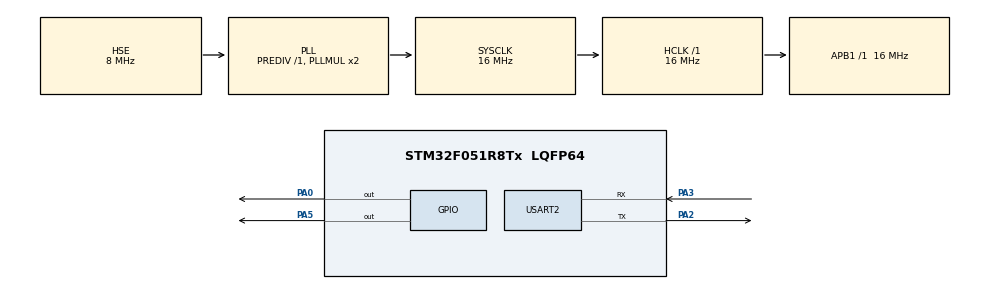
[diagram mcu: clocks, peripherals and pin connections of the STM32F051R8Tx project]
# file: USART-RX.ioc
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Dma.Request0=USART2_RX
Dma.USART2_RX.0.Direction=DMA_PERIPH_TO_MEMORY
Dma.USART2_RX.0.Instance=DMA1_Channel5
Dma.USART2_RX.0.MemDataAlignment=DMA_MDATAALIGN_BYTE
Dma.USART2_RX.0.MemInc=DMA_MINC_ENABLE
Dma.USART2_RX.0.Mode=DMA_NORMAL
Dma.USART2_RX.0.PeriphDataAlignment=DMA_PDATAALIGN_BYTE
Dma.USART2_RX.0.PeriphInc=DMA_PINC_DISABLE
Dma.USART2_RX.0.Priority=DMA_PRIORITY_LOW
Mcu.Family=STM32F0
Mcu.Name=STM32F051R8Tx
Mcu.Package=LQFP64
NVIC.DMA1_Channel4_5_IRQn=true\:0\:0\:false\:false\:true\:false\:true\:true
NVIC.USART2_IRQn=true\:0\:0\:false\:false\:true\:true\:true\:true
PA0.Signal=GPIO_Output
PA2.Mode=Asynchronous
PA2.Signal=USART2_TX
PA3.Mode=Asynchronous
PA3.Signal=USART2_RX
PA5.Signal=GPIO_Output
PF0-OSC_IN.Mode=HSE-External-Oscillator
PF0-OSC_IN.Signal=RCC_OSC_IN
PF1-OSC_OUT.Mode=HSE-External-Oscillator
PF1-OSC_OUT.Signal=RCC_OSC_OUT
ProjectManager.HeapSize=0x200
ProjectManager.StackSize=0x400
ProjectManager.TargetToolchain=MDK-ARM V5.32
RCC.AHBFreq_Value=16000000
RCC.APB1Freq_Value=16000000
RCC.APB1TimFreq_Value=16000000
RCC.HCLKFreq_Value=16000000
RCC.PLLSourceVirtual=RCC_PLLSOURCE_HSE
RCC.SYSCLKFreq_VALUE=16000000
RCC.SYSCLKSource=RCC_SYSCLKSOURCE_PLLCLK
USART2.VirtualMode-Asynchronous=VM_ASYNC
board=custom

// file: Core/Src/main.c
/* USER CODE BEGIN Header */
/**
  ******************************************************************************
  * @file           : main.c
  * @brief          : Main program body
  ******************************************************************************
  * @attention
  *
  * Copyright (c) 2023 STMicroelectronics.
  * All rights reserved.
  *
  * This software is licensed under terms that can be found in the LICENSE file
  * in the root directory of this software component.
  * If no LICENSE file comes with this software, it is provided AS-IS.
  *
  ******************************************************************************
  */
/* USER CODE END Header */
#include "main.h"

/* USER CODE BEGIN Includes */

#include <stdio.h>
#include <stdint.h>
#include <stdlib.h>
#include <string.h>

/* USER CODE END Includes */

/* USER CODE BEGIN PTD */
void build_decoding_table();
void base64_cleanup();

char *base64_encode(const unsigned char *data,
                    size_t input_length,
                    size_t *output_length);
unsigned char *base64_decode(const char *data,
                             size_t input_length,
                             size_t *output_length);
/* USER CODE END PTD */

UART_HandleTypeDef huart2;
DMA_HandleTypeDef hdma_usart2_rx;

void SystemClock_Config(void);
static void MX_GPIO_Init(void);
static void MX_DMA_Init(void);
static void MX_USART2_UART_Init(void);

/* USER CODE BEGIN 0 */
static char encoding_table[] = {'A', 'B', 'C', 'D', 'E', 'F', 'G', 'H',
                                'I', 'J', 'K', 'L', 'M', 'N', 'O', 'P',
                                'Q', 'R', 'S', 'T', 'U', 'V', 'W', 'X',
                                'Y', 'Z', 'a', 'b', 'c', 'd', 'e', 'f',
                                'g', 'h', 'i', 'j', 'k', 'l', 'm', 'n',
                                'o', 'p', 'q', 'r', 's', 't', 'u', 'v',
                                'w', 'x', 'y', 'z', '0', '1', '2', '3',
                                '4', '5', '6', '7', '8', '9', '+', '/'};
static char *decoding_table = NULL;
static int mod_table[] = {0, 2, 1};

uint8_t Rx_data[10];  //  creating a buffer of 10 bytes

/* USER CODE END 0 */

int main(void)
{

  /* MCU Configuration--------------------------------------------------------*/

  /* Reset of all peripherals, Initializes the Flash interface and the Systick. */
  HAL_Init();

  /* USER CODE BEGIN Init */
	  __USART2_CLK_ENABLE();
    __GPIOA_CLK_ENABLE();

  /* USER CODE END Init */

  /* Configure the system clock */
  SystemClock_Config();

  /* Initialize all configured peripherals */
  MX_GPIO_Init();
  MX_DMA_Init();
  MX_USART2_UART_Init();

  /* Infinite loop */
  while (1)
  {

    /* USER CODE BEGIN 3 */
		HAL_GPIO_TogglePin (GPIOA, GPIO_PIN_5);
		HAL_Delay (250);
  }
  /* USER CODE END 3 */
}

void SystemClock_Config(void)
{
  RCC_OscInitTypeDef RCC_OscInitStruct = {0};
  RCC_ClkInitTypeDef RCC_ClkInitStruct = {0};

  /** Initializes the RCC Oscillators according to the specified parameters
  * in the RCC_OscInitTypeDef structure.
  */
  RCC_OscInitStruct.OscillatorType = RCC_OSCILLATORTYPE_HSE;
  RCC_OscInitStruct.HSEState = RCC_HSE_ON;
  RCC_OscInitStruct.PLL.PLLState = RCC_PLL_ON;
  RCC_OscInitStruct.PLL.PLLSource = RCC_PLLSOURCE_HSE;
  RCC_OscInitStruct.PLL.PLLMUL = RCC_PLL_MUL2;
  RCC_OscInitStruct.PLL.PREDIV = RCC_PREDIV_DIV1;
  if (HAL_RCC_OscConfig(&RCC_OscInitStruct) != HAL_OK)
  {
    Error_Handler();
  }

  /** Initializes the CPU, AHB and APB buses clocks
  */
  RCC_ClkInitStruct.ClockType = RCC_CLOCKTYPE_HCLK|RCC_CLOCKTYPE_SYSCLK
                              |RCC_CLOCKTYPE_PCLK1;
  RCC_ClkInitStruct.SYSCLKSource = RCC_SYSCLKSOURCE_PLLCLK;
  RCC_ClkInitStruct.AHBCLKDivider = RCC_SYSCLK_DIV1;
  RCC_ClkInitStruct.APB1CLKDivider = RCC_HCLK_DIV1;

  if (HAL_RCC_ClockConfig(&RCC_ClkInitStruct, FLASH_LATENCY_0) != HAL_OK)
  {
    Error_Handler();
  }
}

static void MX_USART2_UART_Init(void)
{

  huart2.Instance = USART2;
  huart2.Init.BaudRate = 38400;
  huart2.Init.WordLength = UART_WORDLENGTH_8B;
  huart2.Init.StopBits = UART_STOPBITS_1;
  huart2.Init.Parity = UART_PARITY_NONE;
  huart2.Init.Mode = UART_MODE_TX_RX;
  huart2.Init.HwFlowCtl = UART_HWCONTROL_NONE;
  huart2.Init.OverSampling = UART_OVERSAMPLING_16;
  huart2.Init.OneBitSampling = UART_ONE_BIT_SAMPLE_DISABLE;
  huart2.AdvancedInit.AdvFeatureInit = UART_ADVFEATURE_NO_INIT;
  if (HAL_UART_Init(&huart2) != HAL_OK)
  {
    Error_Handler();
  }

}

static void MX_DMA_Init(void)
{

  /* DMA controller clock enable */
  __HAL_RCC_DMA1_CLK_ENABLE();

  /* DMA interrupt init */
  /* DMA1_Channel4_5_IRQn interrupt configuration */
  HAL_NVIC_SetPriority(DMA1_Channel4_5_IRQn, 0, 0);
  HAL_NVIC_EnableIRQ(DMA1_Channel4_5_IRQn);

}

static void MX_GPIO_Init(void)
{
  GPIO_InitTypeDef GPIO_InitStruct = {0};

  /* GPIO Ports Clock Enable */
  __HAL_RCC_GPIOF_CLK_ENABLE();
  __HAL_RCC_GPIOA_CLK_ENABLE();

  /*Configure GPIO pin Output Level */
  HAL_GPIO_WritePin(GPIOA, GPIO_PIN_0|GPIO_PIN_5, GPIO_PIN_RESET);

  /*Configure GPIO pins : PA0 PA5 */
  GPIO_InitStruct.Pin = GPIO_PIN_0|GPIO_PIN_5;
  GPIO_InitStruct.Mode = GPIO_MODE_OUTPUT_PP;
  GPIO_InitStruct.Pull = GPIO_NOPULL;
  GPIO_InitStruct.Speed = GPIO_SPEED_FREQ_LOW;
  HAL_GPIO_Init(GPIOA, &GPIO_InitStruct);

}

/* USER CODE BEGIN 4 */

void build_decoding_table() {

    decoding_table = malloc(256);

    for (int i = 0; i < 64; i++)
        decoding_table[(unsigned char) encoding_table[i]] = i;
}

void base64_cleanup() {
    free(decoding_table);
}

char *base64_encode(const unsigned char *data,
                    size_t input_length,
                    size_t *output_length) {

    *output_length = 4 * ((input_length + 2) / 3);

    char *encoded_data = malloc(*output_length);
    if (encoded_data == NULL) return NULL;

    for (int i = 0, j = 0; i < input_length;) {

        uint32_t octet_a = i < input_length ? (unsigned char)data[i++] : 0;
        uint32_t octet_b = i < input_length ? (unsigned char)data[i++] : 0;
        uint32_t octet_c = i < input_length ? (unsigned char)data[i++] : 0;

        uint32_t triple = (octet_a << 0x10) + (octet_b << 0x08) + octet_c;

        encoded_data[j++] = encoding_table[(triple >> 3 * 6) & 0x3F];
        encoded_data[j++] = encoding_table[(triple >> 2 * 6) & 0x3F];
        encoded_data[j++] = encoding_table[(triple >> 1 * 6) & 0x3F];
        encoded_data[j++] = encoding_table[(triple >> 0 * 6) & 0x3F];
    }

    for (int i = 0; i < mod_table[input_length % 3]; i++)
        encoded_data[*output_length - 1 - i] = '=';

    return encoded_data;
}

unsigned char *base64_decode(const char *data,
                             size_t input_length,
                             size_t *output_length) {

    if (decoding_table == NULL) build_decoding_table();

    if (input_length % 4 != 0) return NULL;

    *output_length = input_length / 4 * 3;
    if (data[input_length - 1] == '=') (*output_length)--;
    if (data[input_length - 2] == '=') (*output_length)--;

    unsigned char *decoded_data = malloc(*output_length);
    if (decoded_data == NULL) return NULL;

    for (int i = 0, j = 0; i < input_length;) {

        uint32_t sextet_a = data[i] == '=' ? 0 & i++ : decoding_table[data[i++]];
        uint32_t sextet_b = data[i] == '=' ? 0 & i++ : decoding_table[data[i++]];
        uint32_t sextet_c = data[i] == '=' ? 0 & i++ : decoding_table[data[i++]];
        uint32_t sextet_d = data[i] == '=' ? 0 & i++ : decoding_table[data[i++]];

        uint32_t triple = (sextet_a << 3 * 6)
        + (sextet_b << 2 * 6)
        + (sextet_c << 1 * 6)
        + (sextet_d << 0 * 6);

        if (j < *output_length) decoded_data[j++] = (triple >> 2 * 8) & 0xFF;
        if (j < *output_length) decoded_data[j++] = (triple >> 1 * 8) & 0xFF;
        if (j < *output_length) decoded_data[j++] = (triple >> 0 * 8) & 0xFF;
    }

    return decoded_data;
}
/* USER CODE END 4 */

void Error_Handler(void)
{
  __disable_irq();
  while (1)
  {
  }
}
